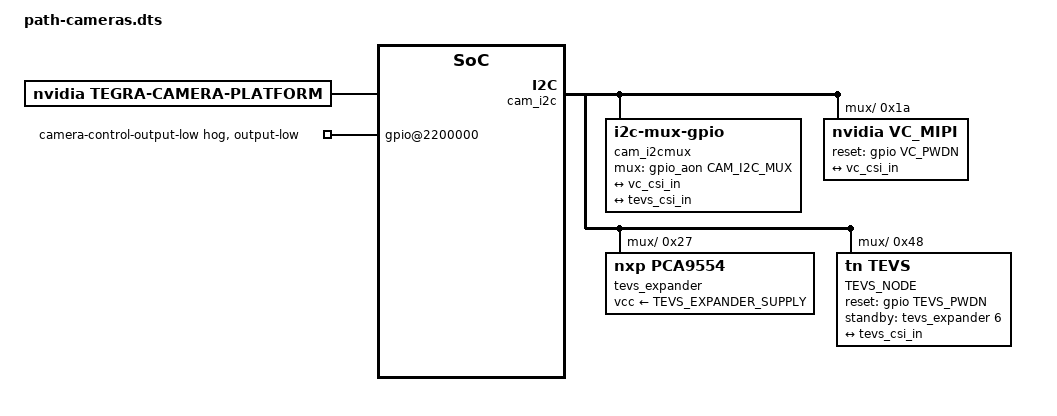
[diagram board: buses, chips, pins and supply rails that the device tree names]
// SPDX-License-Identifier: GPL-2.0-only
/*
 * PATH-Imaging camera overlay for the Jetson Orin Nano Developer Kit (p3768 carrier), L4T 39.2.
 *
 *   Vision Components MIPI IMX412C   colour, RAW10 RGGB    driver vc_mipi (vc_mipi_camera.ko)
 *   TechNexion TEVS-AR0822-M         mono, RAW10 as GRBG   driver tevs (tevs.ko + patches/tevs-raw10.patch)
 *
 * Default wiring, as found on the board:
 *   CAM0 (2 lanes, serial_b, mux leg 0, I2C bus 10)  IMX412C
 *   CAM1 (4 lanes, serial_c, mux leg 1, I2C bus 9)   TEVS, with the adaptor's PCA9554 at 0x27
 * Built with -DVC_ON_CAM1 the cameras swap: IMX412C on CAM1 with 4 lanes, TEVS on CAM0 with 2.
 * (The mux legs come out in reverse bus order because the bootloader adds overlay nodes in front.)
 *
 * Each camera's nodes are the vendor's own, cut down to one camera:
 *   VC  tegra234-p3767-camera-p3768-vc_mipi-dual.dts   vc_mipi_nvidia, branch 322-support-for-l4t-392
 *   TN  tegra234-p3767-camera-p3768-tevs-dual-overlay.dts + tegra234-camera-rpi22-tevs.dtsi
 *       tn-jetson-device-tree, branch tn_l4t-r39.2.ga_kernel-6.8_t23x
 * Deliberate differences from those files, and nothing else (jetson/check_overlay.py enforces it):
 *   IMX412C  embedded_metadata_height 1 -> 2: VC's own table gives 2 lines for the IMX412, their
 *            file ships the generic 1, and v4l2-ctl does not stream with the wrong value.
 *   TEVS     mode_type/pixel_phase/csi_pixel_bit_depth yuv/uyvy/16 -> bayer/grbg/10 (RAW10), and
 *            pix_clk_hz x 16/10 so the lane rate NVIDIA derives from it stays 800 Mbit/s
 *            (lane rate = pix_clk_hz x csi_pixel_bit_depth / num_lanes).
 *   GPIO hog each vendor's hog is kept only for the connector its camera is on: VC holds its
 *            connector's PWDN low; TechNexion (like NVIDIA's own overlays) holds CAM0_RST low when
 *            its camera is on CAM0. The TEVS reset is its connector's PWDN, driven by the driver.
 */
/dts-v1/;
/plugin/;

#include <dt-bindings/gpio/gpio.h>
#include <dt-bindings/gpio/tegra234-gpio.h>

#define CAM0_RST	TEGRA234_MAIN_GPIO(H, 3)
#define CAM0_PWDN	TEGRA234_MAIN_GPIO(H, 6)
#define CAM1_PWDN	TEGRA234_MAIN_GPIO(AC, 0)
#define CAM_I2C_MUX	TEGRA234_AON_GPIO(CC, 3)

/* module0, module1: the argument has to be expanded before it is pasted, hence two levels. */
#define PASTE_(a, b)	a##b
#define PASTE(a, b)	PASTE_(a, b)

/*
 * Per connector: mux leg, CSI port index, the two nvcsi endpoint unit numbers, interface name.
 * CAM0's lanes have D1 and the clock swapped on the Orin Nano module, hence lane_polarity 6 there.
 */
#ifndef VC_METADATA_H  /* build.sh: IMX412_METADATA_H=0 bash jetson/build.sh, to test the kernel faults */
#define VC_METADATA_H		"2"
#endif
#ifdef VC_ON_CAM1

#define VC_LEG			1
#define VC_PORT_INDEX		2
#define VC_EP_IN		2
#define VC_EP_OUT		3
#define VC_SINTERFACE		"serial_c"
#define VC_LANE_POLARITY	"0"
#define VC_BUS_WIDTH		4
#define VC_NUM_LANES		"4"
#define VC_PIX_CLK_HZ		"600000000"
#define VC_PWDN			CAM1_PWDN
#define VC_DEVNODE		"video1"
#define VC_DEVNAME		"vc_mipi 9-001a"
#define VC_SYSFS		"/sys/firmware/devicetree/base/bus@0/cam_i2cmux/i2c@1/vc_mipi@1a"
#define VC_BADGE		"jakku_rear_vc_mipi"
#define VC_POSITION		"rear"
#define VC_LENS			"/sys/firmware/devicetree/base/bus@0/lens@vc_mipi/"

#define TEVS_LEG		0
#define TEVS_PORT_INDEX		1
#define TEVS_EP_IN		0
#define TEVS_EP_OUT		1
#define TEVS_SINTERFACE		"serial_b"
#define TEVS_LANE_POLARITY	lane_polarity = "6";
#define TEVS_BUS_WIDTH		2
#define TEVS_NUM_LANES		"2"
#define TEVS_PIX_CLK_HZ		"160000000"
#define TEVS_PWDN		CAM0_PWDN
#define TEVS_NODE		rpi22_tevs_a@48
#define TEVS_EXPANDER		pca9554_a@27
#define TEVS_EXPANDER_SUPPLY	vdd_1v8_hs
#define TEVS_DEVNODE		"video0"
#define TEVS_BADGE		"jakku_front_RBP194"
#define TEVS_POSITION		"front"
#define TEVS_SYSFS		"/sys/firmware/devicetree/base/bus@0/cam_i2cmux/i2c@0/rpi22_tevs_a@48"
#define TEVS_LENS		"/sys/firmware/devicetree/base/bus@0/lens_tevs@RBPCV2"

#define HOG_GPIOS		<CAM0_RST 0 CAM1_PWDN 0>
#define HOG_LABELS		"cam0-rst", "cam1-pwdn"
#define OVERLAY_NAME		"PATH Imaging: IMX412C on CAM1 (4 lanes) + TEVS RAW10 on CAM0"

#else

#define VC_LEG			0
#define VC_PORT_INDEX		1
#define VC_EP_IN		0
#define VC_EP_OUT		1
#define VC_SINTERFACE		"serial_b"
#define VC_LANE_POLARITY	"6"
#define VC_BUS_WIDTH		2
#define VC_NUM_LANES		"2"
#define VC_PIX_CLK_HZ		"300000000"
#define VC_PWDN			CAM0_PWDN
#define VC_DEVNODE		"video0"
#define VC_DEVNAME		"vc_mipi 10-001a"
#define VC_SYSFS		"/sys/firmware/devicetree/base/bus@0/cam_i2cmux/i2c@0/vc_mipi@1a"
#define VC_BADGE		"jakku_front_vc_mipi"
#define VC_POSITION		"front"
#define VC_LENS			"/sys/firmware/devicetree/base/bus@0/lens@vc_mipi"

#define TEVS_LEG		1
#define TEVS_PORT_INDEX		2
#define TEVS_EP_IN		2
#define TEVS_EP_OUT		3
#define TEVS_SINTERFACE		"serial_c"
#define TEVS_LANE_POLARITY
#define TEVS_BUS_WIDTH		4
#define TEVS_NUM_LANES		"4"
#define TEVS_PIX_CLK_HZ		"320000000"
#define TEVS_PWDN		CAM1_PWDN
#define TEVS_NODE		rpi22_tevs_c@48
#define TEVS_EXPANDER		pca9554_c@27
#define TEVS_EXPANDER_SUPPLY	vdd_1v8_sys
#define TEVS_DEVNODE		"video1"
#define TEVS_BADGE		"jakku_rear_RBP194"
#define TEVS_POSITION		"rear"
#define TEVS_SYSFS		"/sys/firmware/devicetree/base/bus@0/cam_i2cmux/i2c@1/rpi22_tevs_c@48"
#define TEVS_LENS		"/sys/firmware/devicetree/base/bus@0/lens_tevs@RBPCV2/"

#define HOG_GPIOS		<CAM0_PWDN 0>
#define HOG_LABELS		"cam0-pwdn"
#define OVERLAY_NAME		"PATH Imaging: IMX412C on CAM0 + TEVS RAW10 on CAM1"

#endif

/*
 * One TEVS mode. The sizes and rates are TechNexion's placeholders (the driver swaps in the real
 * AR0822 list at probe and only takes the signal properties from here), so only the four values
 * that differ between their modes are parameters.
 */
#define TEVS_MODE(n, w, h, fps)						\
	mode##n {							\
		mclk_khz = "24000";					\
		num_lanes = TEVS_NUM_LANES;				\
		tegra_sinterface = TEVS_SINTERFACE;			\
		TEVS_LANE_POLARITY					\
		phy_mode = "DPHY";					\
		discontinuous_clk = "yes";				\
		dpcm_enable = "false";					\
		cil_settletime = "0";					\
		active_w = w;						\
		active_h = h;						\
		mode_type = "bayer";					\
		pixel_phase = "grbg";					\
		csi_pixel_bit_depth = "10";				\
		readout_orientation = "90";				\
		line_length = "3448";					\
		inherent_gain = "1";					\
		mclk_multiplier = "9.33";				\
		pix_clk_hz = TEVS_PIX_CLK_HZ;				\
		gain_factor = "16";					\
		framerate_factor = "1000000";				\
		exposure_factor = "1000000";				\
		min_gain_val = "16";					\
		max_gain_val = "170";					\
		step_gain_val = "1";					\
		default_gain = "16";					\
		min_hdr_ratio = "1";					\
		max_hdr_ratio = "1";					\
		min_framerate = "2000000";				\
		max_framerate = fps;					\
		step_framerate = "1";					\
		default_framerate = fps;				\
		min_exp_time = "13";					\
		max_exp_time = "683709";				\
		step_exp_time = "1";					\
		default_exp_time = "2495";				\
		embedded_metadata_height = "0";				\
	}

/ {
	overlay-name = OVERLAY_NAME;
	jetson-header-name = "Jetson 24pin CSI Connector";
	compatible = "nvidia,p3768-0000+p3767-0000", "nvidia,p3768-0000+p3767-0001",
		     "nvidia,p3768-0000+p3767-0003", "nvidia,p3768-0000+p3767-0004",
		     "nvidia,p3768-0000+p3767-0005", "nvidia,p3768-0000+p3767-0000-super",
		     "nvidia,p3768-0000+p3767-0001-super", "nvidia,p3768-0000+p3767-0003-super",
		     "nvidia,p3768-0000+p3767-0004-super", "nvidia,p3768-0000+p3767-0005-super";

	fragment@0 {
		target-path = "/";
		__overlay__ {
			tegra-capture-vi {
				num-channels = <2>;
				ports {
					#address-cells = <1>;
					#size-cells = <0>;
					port@VC_LEG {
						reg = <VC_LEG>;
						vc_vi_in: endpoint {
							port-index = <VC_PORT_INDEX>;
							bus-width = <VC_BUS_WIDTH>;
							remote-endpoint = <&vc_csi_out>;
						};
					};
					port@TEVS_LEG {
						reg = <TEVS_LEG>;
						tevs_vi_in: endpoint {
							port-index = <TEVS_PORT_INDEX>;
							bus-width = <TEVS_BUS_WIDTH>;
							remote-endpoint = <&tevs_csi_out>;
						};
					};
				};
			};

			tegra-camera-platform {
				compatible = "nvidia, tegra-camera-platform";
				num_csi_lanes = <6>;
				max_lane_speed = <1500000>;
				min_bits_per_pixel = <10>;
				vi_peak_byte_per_pixel = <2>;
				vi_bw_margin_pct = <25>;
				max_pixel_rate = <240000>;
				isp_peak_byte_per_pixel = <5>;
				isp_bw_margin_pct = <25>;
				modules {
					PASTE(module, VC_LEG) {
						badge = VC_BADGE;
						position = VC_POSITION;
						orientation = "1";
						drivernode0 {
							pcl_id = "v4l2_sensor";
							devname = VC_DEVNAME;
							sysfs-device-tree = VC_SYSFS;
						};
						drivernode1 {
							pcl_id = "v4l2_lens";
							sysfs-device-tree = VC_LENS;
						};
					};
					PASTE(module, TEVS_LEG) {
						badge = TEVS_BADGE;
						position = TEVS_POSITION;
						orientation = "1";
						drivernode0 {
							pcl_id = "v4l2_sensor";
							sysfs-device-tree = TEVS_SYSFS;
						};
						drivernode1 {
							pcl_id = "v4l2_lens";
							sysfs-device-tree = TEVS_LENS;
						};
					};
				};
			};

			bus@0 {
				host1x@13e00000 {
					nvcsi@15a00000 {
						num-channels = <2>;
						#address-cells = <1>;
						#size-cells = <0>;
						channel@VC_LEG {
							reg = <VC_LEG>;
							ports {
								#address-cells = <1>;
								#size-cells = <0>;
								port@0 {
									reg = <0>;
									vc_csi_in: endpoint@VC_EP_IN {
										port-index = <VC_PORT_INDEX>;
										bus-width = <VC_BUS_WIDTH>;
										remote-endpoint = <&vc_out>;
									};
								};
								port@1 {
									reg = <1>;
									vc_csi_out: endpoint@VC_EP_OUT {
										remote-endpoint = <&vc_vi_in>;
									};
								};
							};
						};
						channel@TEVS_LEG {
							reg = <TEVS_LEG>;
							ports {
								#address-cells = <1>;
								#size-cells = <0>;
								port@0 {
									reg = <0>;
									tevs_csi_in: endpoint@TEVS_EP_IN {
										port-index = <TEVS_PORT_INDEX>;
										bus-width = <TEVS_BUS_WIDTH>;
										remote-endpoint = <&tevs_out>;
									};
								};
								port@1 {
									reg = <1>;
									tevs_csi_out: endpoint@TEVS_EP_OUT {
										remote-endpoint = <&tevs_vi_in>;
									};
								};
							};
						};
					};
				};

				cam_i2cmux {
					status = "okay";
					compatible = "i2c-mux-gpio";
					#address-cells = <1>;
					#size-cells = <0>;
					i2c-parent = <&cam_i2c>;
					mux-gpios = <&gpio_aon CAM_I2C_MUX GPIO_ACTIVE_HIGH>;

					i2c@VC_LEG {
						status = "okay";
						reg = <VC_LEG>;
						#address-cells = <1>;
						#size-cells = <0>;

						vc_mipi@1a {
							reg = <0x1a>;
							reset-gpios = <&gpio VC_PWDN GPIO_ACTIVE_HIGH>;
							compatible = "nvidia,vc_mipi";
							devnode = VC_DEVNODE;
							use_sensor_mode_id = "false";
							sensor_model = "vc_mipi";
							num_lanes = VC_NUM_LANES;
							trigger_mode = "0";
							io_mode = "0";
							physical_w = "1.000";
							physical_h = "1.000";

							mode0 {
								num_lanes = VC_NUM_LANES;
								tegra_sinterface = VC_SINTERFACE;
								embedded_metadata_height = VC_METADATA_H;
								readout_orientation = "0";
								lane_polarity = VC_LANE_POLARITY;
								active_l = "0";
								active_t = "0";
								active_w = "0";
								active_h = "0";
								mode_type = "bayer";
								pixel_phase = "rggb";
								csi_pixel_bit_depth = "10";
								min_gain_val = "0";
								max_gain_val = "48000";
								step_gain_val = "100";
								default_gain = "0";
								min_exp_time = "1";
								max_exp_time = "1000000";
								step_exp_time = "1";
								default_exp_time = "10000";
								min_framerate = "100";
								max_framerate = "60000";
								step_framerate = "100";
								default_framerate = "60000";
								gain_factor = "1000";
								exposure_factor = "1000000";
								framerate_factor = "1000";
								inherent_gain = "1";
								min_hdr_ratio = "1";
								max_hdr_ratio = "1";
								line_length = "0";
								phy_mode = "DPHY";
								discontinuous_clk = "no";
								mclk_khz = "24000";
								pix_clk_hz = VC_PIX_CLK_HZ;
								mclk_multiplier = "0.0";
								cil_settletime = "0";
								dpcm_enable = "false";
								set_mode_delay_ms = "100000";
							};

							ports {
								#address-cells = <1>;
								#size-cells = <0>;
								port@0 {
									reg = <0>;
									vc_out: endpoint {
										port-index = <VC_PORT_INDEX>;
										bus-width = <VC_BUS_WIDTH>;
										remote-endpoint = <&vc_csi_in>;
									};
								};
							};
						};
					};

					i2c@TEVS_LEG {
						status = "okay";
						reg = <TEVS_LEG>;
						#address-cells = <1>;
						#size-cells = <0>;

						tevs_expander: TEVS_EXPANDER {
							compatible = "nxp,pca9554";
							reg = <0x27>;
							gpio-controller;
							#gpio-cells = <2>;
							vcc-supply = <&TEVS_EXPANDER_SUPPLY>;
							vcc_lp = "vcc";
							status = "okay";
						};

						TEVS_NODE {
							compatible = "tn,tevs";
							reg = <0x48>;
							devnode = TEVS_DEVNODE;
							physical_w = "3.680";
							physical_h = "2.760";
							sensor_model = "tevs";
							use_sensor_mode_id = "false";
							reset-gpios = <&gpio TEVS_PWDN GPIO_ACTIVE_HIGH>;
							standby-gpios = <&tevs_expander 6 GPIO_ACTIVE_HIGH>;
							status = "okay";

							TEVS_MODE(0, "3280", "2464", "21000000");
							TEVS_MODE(1, "3280", "1848", "28000000");
							TEVS_MODE(2, "1920", "1080", "30000000");
							TEVS_MODE(3, "1640", "1232", "30000000");
							TEVS_MODE(4, "1280", "720", "60000000");
							TEVS_MODE(5, "640", "480", "60000000");

							ports {
								#address-cells = <1>;
								#size-cells = <0>;
								port@0 {
									reg = <0>;
									tevs_out: endpoint {
										port-index = <TEVS_PORT_INDEX>;
										bus-width = <TEVS_BUS_WIDTH>;
										remote-endpoint = <&tevs_csi_in>;
										clock-noncontinuous;
										link-frequencies = /bits/ 64 <400000000>;
									};
								};
							};
						};
					};
				};

				lens_tevs@RBPCV2 {
					min_focus_distance = "0.0";
					hyper_focal = "0.0";
					focal_length = "3.04";
					f_number = "2.0";
					aperture = "0.0";
				};

				gpio@2200000 {
					camera-control-output-low {
						gpio-hog;
						output-low;
						gpios = HOG_GPIOS;
						label = HOG_LABELS;
					};
				};
			};
		};
	};
};
